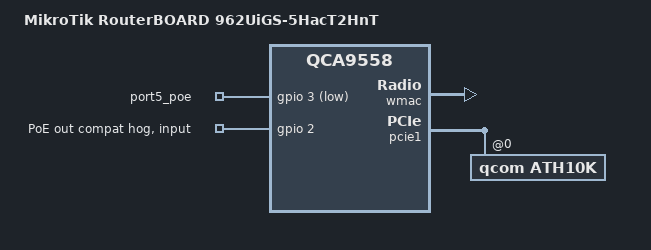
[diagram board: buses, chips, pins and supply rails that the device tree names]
// SPDX-License-Identifier: GPL-2.0-or-later OR MIT

#include "qca9558_mikrotik_routerboard-96x.dtsi"

/ {
	compatible = "mikrotik,routerboard-962uigs-5hact2hnt", "qca,qca9558";
	model = "MikroTik RouterBOARD 962UiGS-5HacT2HnT";

	gpio_export {
		compatible = "gpio-export";
		#size-cells = <0>;

		port5_poe {
			gpio-export,name = "port5_poe";
			gpio-export,output = <1>;
			gpios = <&gpio 3 GPIO_ACTIVE_LOW>;
		};

	};

};

&gpio {
	input-poe-out-compat {
		gpio-hog;
		gpios = <2 GPIO_ACTIVE_HIGH>;
		input;
		line-name = "PoE out compat";
	};
};

&wmac {
	status = "okay";
	qca,no-eeprom;
};

&pcie1 {
	status = "okay";

	ath10k: wifi@0,0 {
		compatible = "qcom,ath10k";
		reg = <0 0 0 0 0>;
		/* 0 - PWR, active high
			 1 - GREEN WLAN, active low
			 2 - RED WLAN, active low */
		leds_pins = < 0 0 1 1 2 1>;
	};
};
